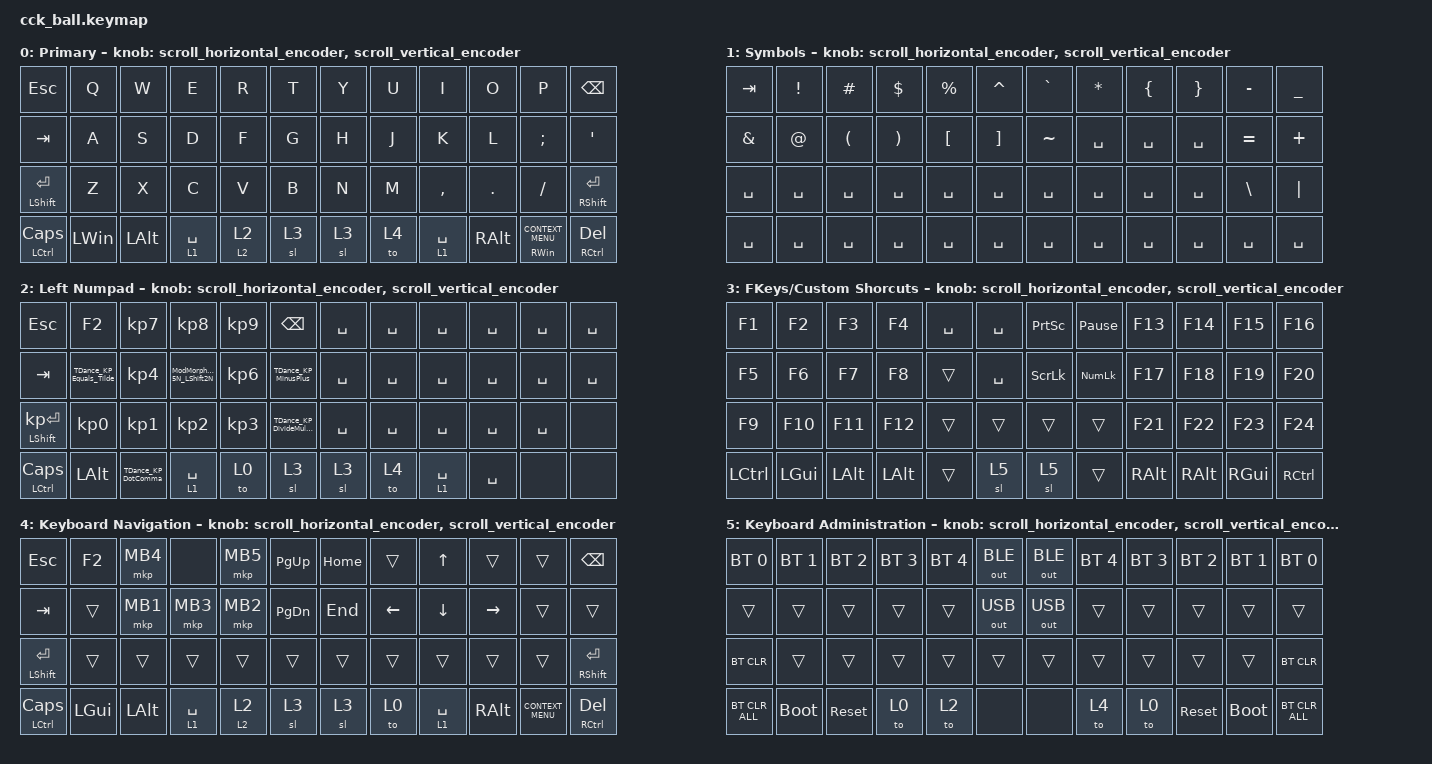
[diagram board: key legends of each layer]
#define ZMK_POINTING_DEFAULT_MOVE_VAL 1000 // 600
#define ZMK_POINTING_DEFAULT_SCRL_VAL 12   // 10

#include <input/processors.dtsi>
#include <zephyr/dt-bindings/input/input-event-codes.h>
#include <behaviors.dtsi>
#include <dt-bindings/zmk/bt.h>
#include <dt-bindings/zmk/keys.h>
#include <dt-bindings/zmk/outputs.h>
#include <dt-bindings/zmk/pointing.h>

&mmv_input_listener { input-processors = <&zip_xy_scaler 2 1>; };

&msc_input_listener { input-processors = <&zip_scroll_scaler 2 1>; };

&msc {
    acceleration-exponent = <0>;      // 0
    time-to-max-speed-ms = <300>;       // 300
    delay-ms = <0>;                   // 0
};

&mmv {
    time-to-max-speed-ms = <500>;
    acceleration-exponent = <1>;
    trigger-period-ms = <16>;
};

&soft_off { hold-time-ms = <2000>; };

&sl {
    bindings = <&sl>;

    /delete-property/ quick-release;
};

/ {
    // 上下滚动编码器行为

    scroll_vertical_encoder: scroll_vertical_encoder {
        compatible = "zmk,behavior-sensor-rotate";
        #sensor-binding-cells = <0>;
        bindings = <&msc SCRL_DOWN>, <&msc SCRL_UP>;

        tap-ms = <100>;
    };

    // 左右滚动编码器行为

    scroll_horizontal_encoder: scroll_horizontal_encoder {
        compatible = "zmk,behavior-sensor-rotate";
        #sensor-binding-cells = <0>;
        bindings = <&msc SCRL_LEFT>, <&msc SCRL_RIGHT>;

        tap-ms = <100>;
    };

    Hold_Tap_LayerPhaser: Hold_Tap_LayerPhaser {
        compatible = "zmk,behavior-hold-tap";
        label = "Hold Momentary/Tap To Layer";
        bindings = <&mo>, <&to>;

        #binding-cells = <2>;
        tapping-term-ms = <200>;
        hold-while-undecided;
    };

    Interrobang: Interrobang {
        compatible = "zmk,behavior-send-string";
        label = "INTERROBANG";
        #binding-cells = <0>;
        text = "‽";
    };

    LeftTortiseShellBracket: LeftTortiseShellBracket {
        compatible = "zmk,behavior-send-string";
        label = "LEFTTORTISESHELLBRACKET";
        #binding-cells = <0>;
        text = "〔";
    };

    RightTortoiseShellBracket: RightTortoiseShellBracket {
        compatible = "zmk,behavior-send-string";
        label = "RIGHTTORTOISESHELLBRACKET";
        #binding-cells = <0>;
        text = "〕";
    };

    LeftBlackLeticularBracket: LeftBlackLeticularBracket {
        compatible = "zmk,behavior-send-string";
        label = "LEFTBLACKLETICULARBRACKET";
        #binding-cells = <0>;
        text = "【";
    };

    RightBlackLenticularBracket: RightBlackLenticularBracket {
        compatible = "zmk,behavior-send-string";
        label = "RIGHTBLACKLENTICULARBRACKET";
        #binding-cells = <0>;
        text = "】";
    };

    TDance_KP_MinusPlus: TDance_KP_MinusPlus {
        compatible = "zmk,behavior-tap-dance";
        label = "TDANCE_KP_MINUSPLUS";
        #binding-cells = <0>;
        bindings = <&kp KP_MINUS>, <&kp KP_PLUS>;

        tapping-term-ms = <200>;
    };

    TDance_KP_DivideMultiply: TDance_KP_DivideMultiply {
        compatible = "zmk,behavior-tap-dance";
        label = "TDANCE_KP_DIVIDEMULTIPLY";
        #binding-cells = <0>;
        bindings = <&kp KP_DIVIDE>, <&kp KP_MULTIPLY>;

        tapping-term-ms = <200>;
    };

    TDance_KP_DotComma: TDance_KP_DotComma {
        compatible = "zmk,behavior-tap-dance";
        label = "TDANCE_KP_DOTCOMMA";
        #binding-cells = <0>;
        tapping-term-ms = <200>;
        bindings = <&kp KP_DOT>, <&kp COMMA>;
    };

    ModMorph_KP_5N_LShift2N: ModMorph_KP_5N_LShift2N {
        compatible = "zmk,behavior-mod-morph";
        label = "MODMORPH_KP_5N_LSHIFT2N";
        bindings = <&kp KP_NUMBER_5>, <&kp KP_NUMBER_2>;

        #binding-cells = <0>;
        mods = <(MOD_LSFT)>;
        keep-mods = <(MOD_LSFT)>;
    };

    TDance_KP_Equals_Tilde: TDance_KP_Equals_Tilde {
        compatible = "zmk,behavior-tap-dance";
        label = "TDANCE_KP_EQUALS_TILDE";
        #binding-cells = <0>;
        bindings = <&kp EQUAL>, <&kp TILDE>;

        tapping-term-ms = <200>;
    };

    behaviors {
    };

    combos {
        compatible = "zmk,combos";

        LAlt_Simulation {
            bindings = <&kt LALT>;
            key-positions = <39 0>;
            timeout-ms = <5000>;
            slow-release;
            require-prior-idle-ms = <(-1)>;
            layers = <0 1 2 4>;
        };

        InterrobangCombo {
            bindings = <&Interrobang>;
            key-positions = <1 34>;
            require-prior-idle-ms = <(-1)>;
            timeout-ms = <200>;
            layers = <0 1 2>;
        };
    };

    keymap {
        compatible = "zmk,keymap";

        Primary {
            bindings = <
&kp ESC               &kp Q         &kp W         &kp E        &kp R                      &kp T  &kp Y  &kp U  &kp I        &kp O     &kp P                         &kp BACKSPACE
&kp TAB               &kp A         &kp S         &kp D        &kp F                      &kp G  &kp H  &kp J  &kp K        &kp L     &kp SEMI                      &kp SQT
&mt LEFT_SHIFT ENTER  &kp Z         &kp X         &kp C        &kp V                      &kp B  &kp N  &kp M  &kp COMMA    &kp DOT   &kp SLASH                     &mt RIGHT_SHIFT ENTER
&mt LCTRL CAPSLOCK    &kp LEFT_WIN  &kp LEFT_ALT  &lt 1 SPACE  &Hold_Tap_LayerPhaser 2 2  &sl 3  &sl 3  &to 4  &lt 1 SPACE  &kp RALT  &mt RIGHT_WIN K_CONTEXT_MENU  &mt RCTRL DEL
            >;

            sensor-bindings =
                <&scroll_horizontal_encoder>,
                <&scroll_vertical_encoder>;

            label = "Primary";
        };

        Symbols {
            bindings = <
&kp TAB        &kp EXCLAMATION  &kp POUND             &kp DOLLAR             &kp PERCENT       &kp CARET          &kp GRAVE  &kp ASTRK  &kp LEFT_BRACE  &kp RIGHT_BRACE  &kp MINUS      &kp UNDERSCORE
&kp AMPERSAND  &kp AT_SIGN      &kp LEFT_PARENTHESIS  &kp RIGHT_PARENTHESIS  &kp LEFT_BRACKET  &kp RIGHT_BRACKET  &kp TILDE  &kp SPACE  &kp SPACE       &kp SPACE        &kp EQUAL      &kp PLUS
&kp SPACE      &kp SPACE        &kp SPACE             &kp SPACE              &kp SPACE         &kp SPACE          &kp SPACE  &kp SPACE  &kp SPACE       &kp SPACE        &kp BACKSLASH  &kp PIPE
&kp SPACE      &kp SPACE        &kp SPACE             &kp SPACE              &kp SPACE         &kp SPACE          &kp SPACE  &kp SPACE  &kp SPACE       &kp SPACE        &kp SPACE      &kp SPACE
            >;

            sensor-bindings =
                <&scroll_horizontal_encoder>,
                <&scroll_vertical_encoder>;

            label = "Symbols";
        };

        Left_Numpad {
            bindings = <
&kp ESC              &kp F2                   &kp KP_NUMBER_7      &kp KP_NUMBER_8           &kp KP_NUMBER_9  &kp BACKSPACE              &kp SPACE  &kp SPACE  &kp SPACE    &kp SPACE  &kp SPACE  &kp SPACE
&kp TAB              &TDance_KP_Equals_Tilde  &kp KP_NUMBER_4      &ModMorph_KP_5N_LShift2N  &kp KP_NUMBER_6  &TDance_KP_MinusPlus       &kp SPACE  &kp SPACE  &kp SPACE    &kp SPACE  &kp SPACE  &kp SPACE
&mt LSHIFT KP_ENTER  &kp KP_NUMBER_0          &kp KP_NUMBER_1      &kp KP_NUMBER_2           &kp KP_NUMBER_3  &TDance_KP_DivideMultiply  &kp SPACE  &kp SPACE  &kp SPACE    &kp SPACE  &kp SPACE  &none
&mt LCTRL CAPS       &kp LEFT_ALT             &TDance_KP_DotComma  &lt 1 SPACE               &to 0            &sl 3                      &sl 3      &to 4      &lt 1 SPACE  &kp SPACE  &none      &none
            >;

            sensor-bindings =
                <&scroll_horizontal_encoder>,
                <&scroll_vertical_encoder>;

            label = "Left Numpad";
        };

        Functions {
            bindings = <
&kp F1     &kp F2    &kp F3    &kp F4        &kp SPACE  &kp SPACE  &kp PRINTSCREEN  &kp PAUSE_BREAK  &kp F13        &kp F14   &kp F15   &kp F16
&kp F5     &kp F6    &kp F7    &kp F8        &trans     &kp SPACE  &kp SCROLLLOCK   &kp KP_NUM       &kp F17        &kp F18   &kp F19   &kp F20
&kp F9     &kp F10   &kp F11   &kp F12       &trans     &trans     &trans           &trans           &kp F21        &kp F22   &kp F23   &kp F24
&kp LCTRL  &kp LGUI  &kp LALT  &kp LEFT_ALT  &trans     &sl 5      &sl 5            &trans           &kp RIGHT_ALT  &kp RALT  &kp RGUI  &kp RCTRL
            >;

            sensor-bindings =
                <&scroll_horizontal_encoder>,
                <&scroll_vertical_encoder>;

            label = "FKeys/Custom Shorcuts";
        };

        KeyNav {
            bindings = <
&kp ESC           &kp F2        &mkp MB4      &none        &mkp MB5                   &kp PAGE_UP    &kp HOME  &trans    &kp UP       &trans         &trans              &kp BACKSPACE
&kp TAB           &trans        &mkp MB1      &mkp MB3     &mkp MB2                   &kp PAGE_DOWN  &kp END   &kp LEFT  &kp DOWN     &kp RIGHT      &trans              &trans
&mt LSHIFT ENTER  &trans        &trans        &trans       &trans                     &trans         &trans    &trans    &trans       &trans         &trans              &mt RSHIFT ENTER
&mt LCTRL CAPS    &kp LEFT_GUI  &kp LEFT_ALT  &lt 1 SPACE  &Hold_Tap_LayerPhaser 2 2  &sl 3          &sl 3     &to 0     &lt 1 SPACE  &kp RIGHT_ALT  &kp K_CONTEXT_MENU  &mt RCTRL DEL
            >;

            sensor-bindings =
                <&scroll_horizontal_encoder>,
                <&scroll_vertical_encoder>;

            label = "Keyboard Navigation";
        };

        Admin {
            bindings = <
&bt BT_SEL 0    &bt BT_SEL 1  &bt BT_SEL 2  &bt BT_SEL 3  &bt BT_SEL 4  &out OUT_BLE  &out OUT_BLE  &bt BT_SEL 4  &bt BT_SEL 3  &bt BT_SEL 2  &bt BT_SEL 1  &bt BT_SEL 0
&trans          &trans        &trans        &trans        &trans        &out OUT_USB  &out OUT_USB  &trans        &trans        &trans        &trans        &trans
&bt BT_CLR      &trans        &trans        &trans        &trans        &trans        &trans        &trans        &trans        &trans        &trans        &bt BT_CLR
&bt BT_CLR_ALL  &bootloader   &sys_reset    &to 0         &to 2         &none         &none         &to 4         &to 0         &sys_reset    &bootloader   &bt BT_CLR_ALL
            >;

            sensor-bindings =
                <&scroll_horizontal_encoder>,
                <&scroll_vertical_encoder>;

            // 编码器2：左右滚动

            label = "Keyboard Administration";
        };
    };
};
